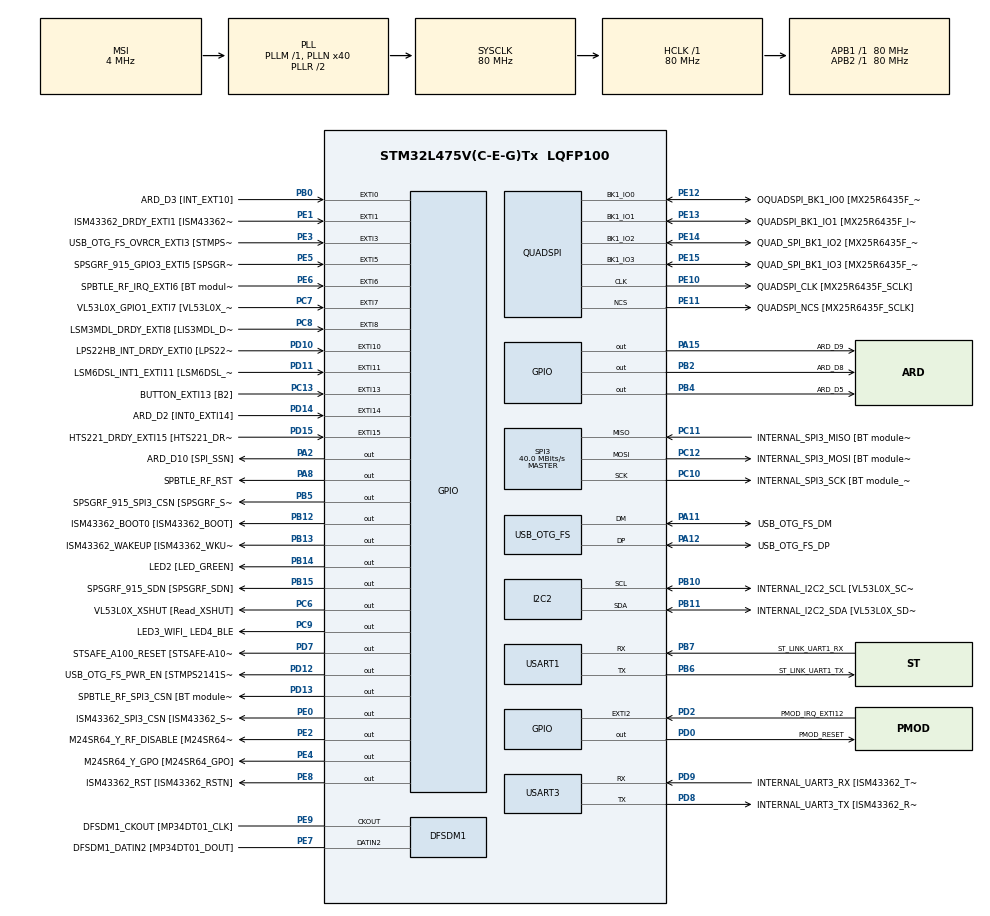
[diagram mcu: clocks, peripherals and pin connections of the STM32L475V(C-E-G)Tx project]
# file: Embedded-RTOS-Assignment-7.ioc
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FREERTOS.Mutexes01=myMutex01,Dynamic,NULL
FREERTOS.Tasks01=defaultTask,0,128,StartDefaultTask,Default,NULL,Dynamic,NULL,NULL;myTask02,-3,128,StartTask02,Default,NULL,Dynamic,NULL,NULL
FREERTOS.configUSE_NEWLIB_REENTRANT=1
Mcu.Family=STM32L4
Mcu.Name=STM32L475V(C-E-G)Tx
Mcu.Package=LQFP100
NVIC.EXTI15_10_IRQn=true\:5\:0\:false\:false\:true\:true\:true\:true\:true
NVIC.EXTI9_5_IRQn=true\:5\:0\:false\:false\:true\:true\:true\:true\:true
NVIC.PriorityGroup=NVIC_PRIORITYGROUP_4
NVIC.TIM1_UP_TIM16_IRQn=true\:15\:0\:false\:false\:true\:false\:false\:true\:true
NVIC.TimeBase=TIM1_UP_TIM16_IRQn
NVIC.TimeBaseIP=TIM1
PA0.GPIO_Label=ARD_D1 [UART4_TX]
PA0.Signal=UART4_TX
PA1.GPIO_Label=ARD_D0 [UART4_RX]
PA1.Signal=UART4_RX
PA10.GPIO_Label=USB_OTG_FS_ID
PA10.Signal=USB_OTG_FS_ID
PA11.GPIO_Label=USB_OTG_FS_DM
PA11.Mode=Device_Only
PA11.Signal=USB_OTG_FS_DM
PA12.GPIO_Label=USB_OTG_FS_DP
PA12.Mode=Device_Only
PA12.Signal=USB_OTG_FS_DP
PA13\ (JTMS-SWDIO).GPIO_Label=SYS_JTMS_SWDIO
PA13\ (JTMS-SWDIO).Mode=Serial_Wire
PA13\ (JTMS-SWDIO).Signal=SYS_JTMS-SWDIO
PA14\ (JTCK-SWCLK).GPIO_Label=SYS_JTCK_SWCLK
PA14\ (JTCK-SWCLK).Mode=Serial_Wire
PA14\ (JTCK-SWCLK).Signal=SYS_JTCK-SWCLK
PA15\ (JTDI).GPIO_Label=ARD_D9
PA15\ (JTDI).Signal=GPIO_Output
PA2.GPIO_Label=ARD_D10 [SPI_SSN]
PA2.Signal=GPIO_Output
PA3.GPIO_Label=ARD_D4
PA3.Signal=S_TIM2_CH4
PA4.GPIO_Label=ARD_D7
PA4.Signal=ADCx_IN9
PA5.GPIO_Label=ARD_D13 [SPI1_SCK]
PA5.Signal=SPI1_SCK
PA6.GPIO_Label=ARD_D12 [SPI1_MISO]
PA6.Signal=SPI1_MISO
PA7.GPIO_Label=ARD_D11 [SPI1_MOSI]
PA7.Signal=SPI1_MOSI
PA8.GPIO_Label=SPBTLE_RF_RST
PA8.Signal=GPIO_Output
PA9.GPIO_Label=USB_OTG_FS_VBUS [STMPS2141STR_OUT]
PA9.Signal=USB_OTG_FS_VBUS
PB0.GPIO_Label=ARD_D3 [INT_EXT10]
PB0.Signal=GPXTI0
PB1.GPIO_Label=ARD_D6 [ADC1_IN6]
PB1.Signal=ADCx_IN16
PB10.GPIO_Label=INTERNAL_I2C2_SCL [VL53L0X_SCL]
PB10.GPIO_Pu=GPIO_PULLUP
PB10.Mode=I2C
PB10.Signal=I2C2_SCL
PB11.GPIO_Label=INTERNAL_I2C2_SDA [VL53L0X_SDA]
PB11.GPIO_Pu=GPIO_PULLUP
PB11.Mode=I2C
PB11.Signal=I2C2_SDA
PB12.GPIO_Label=ISM43362_BOOT0 [ISM43362_BOOT]
PB12.Signal=GPIO_Output
PB13.GPIO_Label=ISM43362_WAKEUP [ISM43362_WKUP]
PB13.Signal=GPIO_Output
PB14.GPIO_Label=LED2 [LED_GREEN]
PB14.Signal=GPIO_Output
PB15.GPIO_Label=SPSGRF_915_SDN [SPSGRF_SDN]
PB15.Signal=GPIO_Output
PB2.GPIO_Label=ARD_D8
PB2.Signal=GPIO_Output
PB3\ (JTDO-TRACESWO).GPIO_Label=SYS_JTD0_SWO
PB3\ (JTDO-TRACESWO).Signal=SYS_JTDO-SWO
PB4\ (NJTRST).GPIO_Label=ARD_D5
PB4\ (NJTRST).Signal=GPIO_Output
PB5.GPIO_Label=SPSGRF_915_SPI3_CSN [SPSGRF_SPI_CS]
PB5.PinState=GPIO_PIN_SET
PB5.Signal=GPIO_Output
PB6.GPIO_Label=ST_LINK_UART1_TX
PB6.Mode=Asynchronous
PB6.Signal=USART1_TX
PB7.GPIO_Label=ST_LINK_UART1_RX
PB7.Mode=Asynchronous
PB7.Signal=USART1_RX
PB8.GPIO_Label=ARD_D15 [I2C1_SCL]
PB8.Signal=I2C1_SCL
PB9.GPIO_Label=ARD_D14 [I2C1_SDA]
PB9.Signal=I2C1_SDA
PC0.GPIO_Label=ARD_A5 [ADC]
PC0.Signal=ADCx_IN1
PC1.GPIO_Label=ARD_A4 [ADC]
PC1.Signal=ADCx_IN2
PC10.GPIO_Label=INTERNAL_SPI3_SCK [BT module_SPI_SCLK] [ISM43362_SCK]
PC10.Mode=Full_Duplex_Master
PC10.Signal=SPI3_SCK
PC11.GPIO_Label=INTERNAL_SPI3_MISO [BT module_SPI_MISO] [ISM43362_MISO]
PC11.Mode=Full_Duplex_Master
PC11.Signal=SPI3_MISO
PC12.GPIO_Label=INTERNAL_SPI3_MOSI [BT module_SPI_MOSI] [ISM43362_MOSI]
PC12.Mode=Full_Duplex_Master
PC12.Signal=SPI3_MOSI
PC13.GPIO_Label=BUTTON_EXTI13 [B2]
PC13.GPIO_ModeDefaultEXTI=GPIO_MODE_IT_FALLING
PC13.Signal=GPXTI13
PC14-OSC32_IN\ (PC14).Mode=LSE-External-Oscillator
PC14-OSC32_IN\ (PC14).Signal=RCC_OSC32_IN
PC15-OSC32_OUT\ (PC15).Mode=LSE-External-Oscillator
PC15-OSC32_OUT\ (PC15).Signal=RCC_OSC32_OUT
PC2.GPIO_Label=ARD_A3 [ADC]
PC2.Signal=ADCx_IN3
PC3.GPIO_Label=ARD_A2 [ADC]
PC3.Signal=ADCx_IN4
PC4.GPIO_Label=ARD_A1 [ADC]
PC4.Signal=ADCx_IN13
PC5.GPIO_Label=ARD_A0 [ADC]
PC5.Signal=ADCx_IN14
PC6.GPIO_Label=VL53L0X_XSHUT [Read_XSHUT]
PC6.Signal=GPIO_Output
PC7.GPIO_Label=VL53L0X_GPIO1_EXTI7 [VL53L0X_GPIO1]
PC7.Signal=GPXTI7
PC8.GPIO_Label=LSM3MDL_DRDY_EXTI8 [LIS3MDL_DRDY]
PC8.Signal=GPXTI8
PC9.GPIO_Label=LED3_WIFI_ LED4_BLE
PC9.Signal=GPIO_Output
PD0.GPIO_Label=PMOD_RESET
PD0.Signal=GPIO_Output
PD1.GPIO_Label=PMOD_SPI2_SCK
PD1.Signal=SPI2_SCK
PD10.GPIO_Label=LPS22HB_INT_DRDY_EXTI0 [LPS22HB_INT_DRDY] 
PD10.Signal=GPXTI10
PD11.GPIO_Label=LSM6DSL_INT1_EXTI11 [LSM6DSL_INT1]
PD11.Signal=GPXTI11
PD12.GPIO_Label=USB_OTG_FS_PWR_EN [STMPS2141STR_EN]
PD12.Signal=GPIO_Output
PD13.GPIO_Label=SPBTLE_RF_SPI3_CSN [BT module_SPI_CS]
PD13.PinState=GPIO_PIN_SET
PD13.Signal=GPIO_Output
PD14.GPIO_Label=ARD_D2 [INT0_EXTI14]
PD14.Signal=GPXTI14
PD15.GPIO_Label=HTS221_DRDY_EXTI15 [HTS221_DRDY]
PD15.Signal=GPXTI15
PD2.GPIO_Label=PMOD_IRQ_EXTI12
PD2.Signal=GPXTI2
PD3.GPIO_Label=PMOD_UART2_CTS
PD3.Signal=USART2_CTS
PD4.GPIO_Label=PMOD_UART2_RTS
PD4.Signal=USART2_RTS
PD5.GPIO_Label=PMOD_UART2_TX
PD5.Signal=USART2_TX
PD6.GPIO_Label=PMOD_UART2_RX
PD6.Signal=USART2_RX
PD7.GPIO_Label=STSAFE_A100_RESET [STSAFE-A100_RESET]
PD7.Signal=GPIO_Output
PD8.GPIO_Label=INTERNAL_UART3_TX [ISM43362_RX]
PD8.Mode=Asynchronous
PD8.Signal=USART3_TX
PD9.GPIO_Label=INTERNAL_UART3_RX [ISM43362_TX]
PD9.Mode=Asynchronous
PD9.Signal=USART3_RX
PE0.GPIO_Label=ISM43362_SPI3_CSN [ISM43362_SSN]
PE0.PinState=GPIO_PIN_SET
PE0.Signal=GPIO_Output
PE1.GPIO_Label=ISM43362_DRDY_EXTI1 [ISM43362_DATARDY]
PE1.Signal=GPXTI1
PE10.GPIO_Label=QUADSPI_CLK [MX25R6435F_SCLK]
PE10.Mode=Single Bank
PE10.Signal=QUADSPI_CLK
PE11.GPIO_Label=QUADSPI_NCS [MX25R6435F_SCLK]
PE11.Mode=Single Bank
PE11.Signal=QUADSPI_NCS
PE12.GPIO_Label=OQUADSPI_BK1_IO0 [MX25R6435F_IO0]
PE12.Mode=Single Bank
PE12.Signal=QUADSPI_BK1_IO0
PE13.GPIO_Label=QUADSPI_BK1_IO1 [MX25R6435F_IO1]
PE13.Mode=Single Bank
PE13.Signal=QUADSPI_BK1_IO1
PE14.GPIO_Label=QUAD_SPI_BK1_IO2 [MX25R6435F_IO2]
PE14.Mode=Single Bank
PE14.Signal=QUADSPI_BK1_IO2
PE15.GPIO_Label=QUAD_SPI_BK1_IO3 [MX25R6435F_IO3]
PE15.Mode=Single Bank
PE15.Signal=QUADSPI_BK1_IO3
PE2.GPIO_Label=M24SR64_Y_RF_DISABLE [M24SR64_RFDIS]
PE2.Signal=GPIO_Output
PE3.GPIO_Label=USB_OTG_FS_OVRCR_EXTI3 [STMPS2141STR_FAULT]
PE3.Signal=GPXTI3
PE4.GPIO_Label=M24SR64_Y_GPO [M24SR64_GPO]
PE4.Signal=GPIO_Output
PE5.GPIO_Label=SPSGRF_915_GPIO3_EXTI5 [SPSGRF_GPIO_3]
PE5.Signal=GPXTI5
PE6.GPIO_Label=SPBTLE_RF_IRQ_EXTI6 [BT module_SPI_IRQ]
PE6.Signal=GPXTI6
PE7.GPIO_Label=DFSDM1_DATIN2 [MP34DT01_DOUT]
PE7.Signal=S_DATAIN2DFSDM1
PE8.GPIO_Label=ISM43362_RST [ISM43362_RSTN]
PE8.Signal=GPIO_Output
PE9.GPIO_Label=DFSDM1_CKOUT [MP34DT01_CLK]
PE9.Signal=S_CKOUTDFSDM1
ProjectManager.HeapSize=0x200
ProjectManager.StackSize=0x400
ProjectManager.TargetToolchain=STM32CubeIDE
QUADSPI.ClockPrescaler=2
QUADSPI.FifoThreshold=4
QUADSPI.FlashSize=23
QUADSPI.SampleShifting=QSPI_SAMPLE_SHIFTING_HALFCYCLE
RCC.ADCFreq_Value=48000000
RCC.AHBFreq_Value=80000000
RCC.APB1Freq_Value=80000000
RCC.APB1TimFreq_Value=80000000
RCC.APB2Freq_Value=80000000
RCC.APB2TimFreq_Value=80000000
RCC.CortexFreq_Value=80000000
RCC.HCLKFreq_Value=80000000
RCC.HSE_VALUE=8000000
RCC.HSI_VALUE=16000000
RCC.MSI_VALUE=4000000
RCC.PLLN=40
RCC.PLLSAI1N=24
RCC.SYSCLKFreq_VALUE=80000000
RCC.SYSCLKSource=RCC_SYSCLKSOURCE_PLLCLK
RCC.USBFreq_Value=48000000
RCC.VCOOutputFreq_Value=160000000
SH.ADCx_IN1.0=ADC1_IN1
SH.ADCx_IN13.0=ADC1_IN13
SH.ADCx_IN14.0=ADC1_IN14
SH.ADCx_IN16.0=ADC1_IN16
SH.ADCx_IN2.0=ADC1_IN2
SH.ADCx_IN3.0=ADC1_IN3
SH.ADCx_IN4.0=ADC1_IN4
SH.ADCx_IN9.0=ADC1_IN9
SH.S_CKOUTDFSDM1.0=DFSDM1_CKOUT,CKOUT
SH.S_CKOUTDFSDM1.1=DFSDM1_CKOUT,PDM_SPI_Input_from_ch12_and_Internal_Clock
SH.S_DATAIN2DFSDM1.0=DFSDM1_DATIN2,PDM_SPI_Input_from_ch12_and_Internal_Clock
SH.S_TIM2_CH4.0=TIM2_CH4
SPI3.CalculateBaudRate=40.0 MBits/s
SPI3.Direction=SPI_DIRECTION_2LINES
SPI3.Mode=SPI_MODE_MASTER
SPI3.VirtualType=VM_MASTER
USART1.VirtualMode-Asynchronous=VM_ASYNC
USART3.VirtualMode-Asynchronous=VM_ASYNC
USB_OTG_FS.VirtualMode=Device_Only
VP_FREERTOS_VS_CMSIS_V1.Mode=CMSIS_V1
VP_SYS_VS_tim1.Mode=TIM1
board=B-L475E-IOT01A2

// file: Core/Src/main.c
/* USER CODE BEGIN Header */
/**
  ******************************************************************************
  * @file           : main.c
  * @brief          : Main program body
  ******************************************************************************
  * @attention
  *
  * Copyright (c) 2023 STMicroelectronics.
  * All rights reserved.
  *
  * This software is licensed under terms that can be found in the LICENSE file
  * in the root directory of this software component.
  * If no LICENSE file comes with this software, it is provided AS-IS.
  *
  ******************************************************************************
  */
/* USER CODE END Header */
#include "main.h"
#include "cmsis_os.h"

DFSDM_Channel_HandleTypeDef hdfsdm1_channel1;

I2C_HandleTypeDef hi2c2;

QSPI_HandleTypeDef hqspi;

SPI_HandleTypeDef hspi3;

UART_HandleTypeDef huart1;
UART_HandleTypeDef huart3;

PCD_HandleTypeDef hpcd_USB_OTG_FS;

osThreadId defaultTaskHandle;
osThreadId myTask02Handle;
osMutexId myMutex01Handle;
/* USER CODE BEGIN PV */
int count = 0;
/* USER CODE END PV */

void SystemClock_Config(void);
static void MX_GPIO_Init(void);
static void MX_DFSDM1_Init(void);
static void MX_I2C2_Init(void);
static void MX_QUADSPI_Init(void);
static void MX_SPI3_Init(void);
static void MX_USART1_UART_Init(void);
static void MX_USART3_UART_Init(void);
static void MX_USB_OTG_FS_PCD_Init(void);
void StartDefaultTask(void const * argument);
void StartTask02(void const * argument);

int main(void)
{

  /* MCU Configuration--------------------------------------------------------*/

  /* Reset of all peripherals, Initializes the Flash interface and the Systick. */
  HAL_Init();

  /* Configure the system clock */
  SystemClock_Config();

  /* Initialize all configured peripherals */
  MX_GPIO_Init();
  MX_DFSDM1_Init();
  MX_I2C2_Init();
  MX_QUADSPI_Init();
  MX_SPI3_Init();
  MX_USART1_UART_Init();
  MX_USART3_UART_Init();
  MX_USB_OTG_FS_PCD_Init();

  /* Create the mutex(es) */
  /* definition and creation of myMutex01 */
  osMutexDef(myMutex01);
  myMutex01Handle = osMutexCreate(osMutex(myMutex01));

  /* Create the thread(s) */
  /* definition and creation of defaultTask */
  osThreadDef(defaultTask, StartDefaultTask, osPriorityNormal, 0, 128);
  defaultTaskHandle = osThreadCreate(osThread(defaultTask), NULL);

  /* definition and creation of myTask02 */
  osThreadDef(myTask02, StartTask02, osPriorityIdle, 0, 128);
  myTask02Handle = osThreadCreate(osThread(myTask02), NULL);

  /* Start scheduler */
  osKernelStart();
  /* We should never get here as control is now taken by the scheduler */
  /* Infinite loop */
  while (1)
  {

  }
}

void SystemClock_Config(void)
{
  RCC_OscInitTypeDef RCC_OscInitStruct = {0};
  RCC_ClkInitTypeDef RCC_ClkInitStruct = {0};

  /** Configure the main internal regulator output voltage
  */
  if (HAL_PWREx_ControlVoltageScaling(PWR_REGULATOR_VOLTAGE_SCALE1) != HAL_OK)
  {
    Error_Handler();
  }

  /** Configure LSE Drive Capability
  */
  HAL_PWR_EnableBkUpAccess();
  __HAL_RCC_LSEDRIVE_CONFIG(RCC_LSEDRIVE_LOW);

  /** Initializes the RCC Oscillators according to the specified parameters
  * in the RCC_OscInitTypeDef structure.
  */
  RCC_OscInitStruct.OscillatorType = RCC_OSCILLATORTYPE_LSE|RCC_OSCILLATORTYPE_MSI;
  RCC_OscInitStruct.LSEState = RCC_LSE_ON;
  RCC_OscInitStruct.MSIState = RCC_MSI_ON;
  RCC_OscInitStruct.MSICalibrationValue = 0;
  RCC_OscInitStruct.MSIClockRange = RCC_MSIRANGE_6;
  RCC_OscInitStruct.PLL.PLLState = RCC_PLL_ON;
  RCC_OscInitStruct.PLL.PLLSource = RCC_PLLSOURCE_MSI;
  RCC_OscInitStruct.PLL.PLLM = 1;
  RCC_OscInitStruct.PLL.PLLN = 40;
  RCC_OscInitStruct.PLL.PLLP = RCC_PLLP_DIV7;
  RCC_OscInitStruct.PLL.PLLQ = RCC_PLLQ_DIV2;
  RCC_OscInitStruct.PLL.PLLR = RCC_PLLR_DIV2;
  if (HAL_RCC_OscConfig(&RCC_OscInitStruct) != HAL_OK)
  {
    Error_Handler();
  }

  /** Initializes the CPU, AHB and APB buses clocks
  */
  RCC_ClkInitStruct.ClockType = RCC_CLOCKTYPE_HCLK|RCC_CLOCKTYPE_SYSCLK
                              |RCC_CLOCKTYPE_PCLK1|RCC_CLOCKTYPE_PCLK2;
  RCC_ClkInitStruct.SYSCLKSource = RCC_SYSCLKSOURCE_PLLCLK;
  RCC_ClkInitStruct.AHBCLKDivider = RCC_SYSCLK_DIV1;
  RCC_ClkInitStruct.APB1CLKDivider = RCC_HCLK_DIV1;
  RCC_ClkInitStruct.APB2CLKDivider = RCC_HCLK_DIV1;

  if (HAL_RCC_ClockConfig(&RCC_ClkInitStruct, FLASH_LATENCY_4) != HAL_OK)
  {
    Error_Handler();
  }

  /** Enable MSI Auto calibration
  */
  HAL_RCCEx_EnableMSIPLLMode();
}

static void MX_DFSDM1_Init(void)
{

  hdfsdm1_channel1.Instance = DFSDM1_Channel1;
  hdfsdm1_channel1.Init.OutputClock.Activation = ENABLE;
  hdfsdm1_channel1.Init.OutputClock.Selection = DFSDM_CHANNEL_OUTPUT_CLOCK_SYSTEM;
  hdfsdm1_channel1.Init.OutputClock.Divider = 2;
  hdfsdm1_channel1.Init.Input.Multiplexer = DFSDM_CHANNEL_EXTERNAL_INPUTS;
  hdfsdm1_channel1.Init.Input.DataPacking = DFSDM_CHANNEL_STANDARD_MODE;
  hdfsdm1_channel1.Init.Input.Pins = DFSDM_CHANNEL_FOLLOWING_CHANNEL_PINS;
  hdfsdm1_channel1.Init.SerialInterface.Type = DFSDM_CHANNEL_SPI_RISING;
  hdfsdm1_channel1.Init.SerialInterface.SpiClock = DFSDM_CHANNEL_SPI_CLOCK_INTERNAL;
  hdfsdm1_channel1.Init.Awd.FilterOrder = DFSDM_CHANNEL_FASTSINC_ORDER;
  hdfsdm1_channel1.Init.Awd.Oversampling = 1;
  hdfsdm1_channel1.Init.Offset = 0;
  hdfsdm1_channel1.Init.RightBitShift = 0x00;
  if (HAL_DFSDM_ChannelInit(&hdfsdm1_channel1) != HAL_OK)
  {
    Error_Handler();
  }

}

static void MX_I2C2_Init(void)
{

  hi2c2.Instance = I2C2;
  hi2c2.Init.Timing = 0x00000E14;
  hi2c2.Init.OwnAddress1 = 0;
  hi2c2.Init.AddressingMode = I2C_ADDRESSINGMODE_7BIT;
  hi2c2.Init.DualAddressMode = I2C_DUALADDRESS_DISABLE;
  hi2c2.Init.OwnAddress2 = 0;
  hi2c2.Init.OwnAddress2Masks = I2C_OA2_NOMASK;
  hi2c2.Init.GeneralCallMode = I2C_GENERALCALL_DISABLE;
  hi2c2.Init.NoStretchMode = I2C_NOSTRETCH_DISABLE;
  if (HAL_I2C_Init(&hi2c2) != HAL_OK)
  {
    Error_Handler();
  }

  /** Configure Analogue filter
  */
  if (HAL_I2CEx_ConfigAnalogFilter(&hi2c2, I2C_ANALOGFILTER_ENABLE) != HAL_OK)
  {
    Error_Handler();
  }

  /** Configure Digital filter
  */
  if (HAL_I2CEx_ConfigDigitalFilter(&hi2c2, 0) != HAL_OK)
  {
    Error_Handler();
  }

}

static void MX_QUADSPI_Init(void)
{

  /* QUADSPI parameter configuration*/
  hqspi.Instance = QUADSPI;
  hqspi.Init.ClockPrescaler = 2;
  hqspi.Init.FifoThreshold = 4;
  hqspi.Init.SampleShifting = QSPI_SAMPLE_SHIFTING_HALFCYCLE;
  hqspi.Init.FlashSize = 23;
  hqspi.Init.ChipSelectHighTime = QSPI_CS_HIGH_TIME_1_CYCLE;
  hqspi.Init.ClockMode = QSPI_CLOCK_MODE_0;
  if (HAL_QSPI_Init(&hqspi) != HAL_OK)
  {
    Error_Handler();
  }

}

static void MX_SPI3_Init(void)
{

  /* SPI3 parameter configuration*/
  hspi3.Instance = SPI3;
  hspi3.Init.Mode = SPI_MODE_MASTER;
  hspi3.Init.Direction = SPI_DIRECTION_2LINES;
  hspi3.Init.DataSize = SPI_DATASIZE_4BIT;
  hspi3.Init.CLKPolarity = SPI_POLARITY_LOW;
  hspi3.Init.CLKPhase = SPI_PHASE_1EDGE;
  hspi3.Init.NSS = SPI_NSS_SOFT;
  hspi3.Init.BaudRatePrescaler = SPI_BAUDRATEPRESCALER_2;
  hspi3.Init.FirstBit = SPI_FIRSTBIT_MSB;
  hspi3.Init.TIMode = SPI_TIMODE_DISABLE;
  hspi3.Init.CRCCalculation = SPI_CRCCALCULATION_DISABLE;
  hspi3.Init.CRCPolynomial = 7;
  hspi3.Init.CRCLength = SPI_CRC_LENGTH_DATASIZE;
  hspi3.Init.NSSPMode = SPI_NSS_PULSE_ENABLE;
  if (HAL_SPI_Init(&hspi3) != HAL_OK)
  {
    Error_Handler();
  }

}

static void MX_USART1_UART_Init(void)
{

  huart1.Instance = USART1;
  huart1.Init.BaudRate = 115200;
  huart1.Init.WordLength = UART_WORDLENGTH_8B;
  huart1.Init.StopBits = UART_STOPBITS_1;
  huart1.Init.Parity = UART_PARITY_NONE;
  huart1.Init.Mode = UART_MODE_TX_RX;
  huart1.Init.HwFlowCtl = UART_HWCONTROL_NONE;
  huart1.Init.OverSampling = UART_OVERSAMPLING_16;
  huart1.Init.OneBitSampling = UART_ONE_BIT_SAMPLE_DISABLE;
  huart1.AdvancedInit.AdvFeatureInit = UART_ADVFEATURE_NO_INIT;
  if (HAL_UART_Init(&huart1) != HAL_OK)
  {
    Error_Handler();
  }

}

static void MX_USART3_UART_Init(void)
{

  huart3.Instance = USART3;
  huart3.Init.BaudRate = 115200;
  huart3.Init.WordLength = UART_WORDLENGTH_8B;
  huart3.Init.StopBits = UART_STOPBITS_1;
  huart3.Init.Parity = UART_PARITY_NONE;
  huart3.Init.Mode = UART_MODE_TX_RX;
  huart3.Init.HwFlowCtl = UART_HWCONTROL_NONE;
  huart3.Init.OverSampling = UART_OVERSAMPLING_16;
  huart3.Init.OneBitSampling = UART_ONE_BIT_SAMPLE_DISABLE;
  huart3.AdvancedInit.AdvFeatureInit = UART_ADVFEATURE_NO_INIT;
  if (HAL_UART_Init(&huart3) != HAL_OK)
  {
    Error_Handler();
  }

}

static void MX_USB_OTG_FS_PCD_Init(void)
{

  hpcd_USB_OTG_FS.Instance = USB_OTG_FS;
  hpcd_USB_OTG_FS.Init.dev_endpoints = 6;
  hpcd_USB_OTG_FS.Init.speed = PCD_SPEED_FULL;
  hpcd_USB_OTG_FS.Init.phy_itface = PCD_PHY_EMBEDDED;
  hpcd_USB_OTG_FS.Init.Sof_enable = DISABLE;
  hpcd_USB_OTG_FS.Init.low_power_enable = DISABLE;
  hpcd_USB_OTG_FS.Init.lpm_enable = DISABLE;
  hpcd_USB_OTG_FS.Init.battery_charging_enable = DISABLE;
  hpcd_USB_OTG_FS.Init.use_dedicated_ep1 = DISABLE;
  hpcd_USB_OTG_FS.Init.vbus_sensing_enable = DISABLE;
  if (HAL_PCD_Init(&hpcd_USB_OTG_FS) != HAL_OK)
  {
    Error_Handler();
  }

}

static void MX_GPIO_Init(void)
{
  GPIO_InitTypeDef GPIO_InitStruct = {0};

  /* GPIO Ports Clock Enable */
  __HAL_RCC_GPIOE_CLK_ENABLE();
  __HAL_RCC_GPIOC_CLK_ENABLE();
  __HAL_RCC_GPIOA_CLK_ENABLE();
  __HAL_RCC_GPIOB_CLK_ENABLE();
  __HAL_RCC_GPIOD_CLK_ENABLE();

  /*Configure GPIO pin Output Level */
  HAL_GPIO_WritePin(GPIOE, M24SR64_Y_RF_DISABLE_Pin|M24SR64_Y_GPO_Pin|ISM43362_RST_Pin, GPIO_PIN_RESET);

  /*Configure GPIO pin Output Level */
  HAL_GPIO_WritePin(GPIOA, ARD_D10_Pin|SPBTLE_RF_RST_Pin|ARD_D9_Pin, GPIO_PIN_RESET);

  /*Configure GPIO pin Output Level */
  HAL_GPIO_WritePin(GPIOB, ARD_D8_Pin|ISM43362_BOOT0_Pin|ISM43362_WAKEUP_Pin|LED2_Pin
                          |SPSGRF_915_SDN_Pin|ARD_D5_Pin, GPIO_PIN_RESET);

  /*Configure GPIO pin Output Level */
  HAL_GPIO_WritePin(GPIOD, USB_OTG_FS_PWR_EN_Pin|PMOD_RESET_Pin|STSAFE_A100_RESET_Pin, GPIO_PIN_RESET);

  /*Configure GPIO pin Output Level */
  HAL_GPIO_WritePin(SPBTLE_RF_SPI3_CSN_GPIO_Port, SPBTLE_RF_SPI3_CSN_Pin, GPIO_PIN_SET);

  /*Configure GPIO pin Output Level */
  HAL_GPIO_WritePin(GPIOC, VL53L0X_XSHUT_Pin|LED3_WIFI__LED4_BLE_Pin, GPIO_PIN_RESET);

  /*Configure GPIO pin Output Level */
  HAL_GPIO_WritePin(SPSGRF_915_SPI3_CSN_GPIO_Port, SPSGRF_915_SPI3_CSN_Pin, GPIO_PIN_SET);

  /*Configure GPIO pin Output Level */
  HAL_GPIO_WritePin(ISM43362_SPI3_CSN_GPIO_Port, ISM43362_SPI3_CSN_Pin, GPIO_PIN_SET);

  /*Configure GPIO pins : M24SR64_Y_RF_DISABLE_Pin M24SR64_Y_GPO_Pin ISM43362_RST_Pin ISM43362_SPI3_CSN_Pin */
  GPIO_InitStruct.Pin = M24SR64_Y_RF_DISABLE_Pin|M24SR64_Y_GPO_Pin|ISM43362_RST_Pin|ISM43362_SPI3_CSN_Pin;
  GPIO_InitStruct.Mode = GPIO_MODE_OUTPUT_PP;
  GPIO_InitStruct.Pull = GPIO_NOPULL;
  GPIO_InitStruct.Speed = GPIO_SPEED_FREQ_LOW;
  HAL_GPIO_Init(GPIOE, &GPIO_InitStruct);

  /*Configure GPIO pins : USB_OTG_FS_OVRCR_EXTI3_Pin SPSGRF_915_GPIO3_EXTI5_Pin SPBTLE_RF_IRQ_EXTI6_Pin ISM43362_DRDY_EXTI1_Pin */
  GPIO_InitStruct.Pin = USB_OTG_FS_OVRCR_EXTI3_Pin|SPSGRF_915_GPIO3_EXTI5_Pin|SPBTLE_RF_IRQ_EXTI6_Pin|ISM43362_DRDY_EXTI1_Pin;
  GPIO_InitStruct.Mode = GPIO_MODE_IT_RISING;
  GPIO_InitStruct.Pull = GPIO_NOPULL;
  HAL_GPIO_Init(GPIOE, &GPIO_InitStruct);

  /*Configure GPIO pin : BUTTON_EXTI13_Pin */
  GPIO_InitStruct.Pin = BUTTON_EXTI13_Pin;
  GPIO_InitStruct.Mode = GPIO_MODE_IT_FALLING;
  GPIO_InitStruct.Pull = GPIO_NOPULL;
  HAL_GPIO_Init(BUTTON_EXTI13_GPIO_Port, &GPIO_InitStruct);

  /*Configure GPIO pins : ARD_A5_Pin ARD_A4_Pin ARD_A3_Pin ARD_A2_Pin
                           ARD_A1_Pin ARD_A0_Pin */
  GPIO_InitStruct.Pin = ARD_A5_Pin|ARD_A4_Pin|ARD_A3_Pin|ARD_A2_Pin
                          |ARD_A1_Pin|ARD_A0_Pin;
  GPIO_InitStruct.Mode = GPIO_MODE_ANALOG_ADC_CONTROL;
  GPIO_InitStruct.Pull = GPIO_NOPULL;
  HAL_GPIO_Init(GPIOC, &GPIO_InitStruct);

  /*Configure GPIO pins : ARD_D1_Pin ARD_D0_Pin */
  GPIO_InitStruct.Pin = ARD_D1_Pin|ARD_D0_Pin;
  GPIO_InitStruct.Mode = GPIO_MODE_AF_PP;
  GPIO_InitStruct.Pull = GPIO_NOPULL;
  GPIO_InitStruct.Speed = GPIO_SPEED_FREQ_VERY_HIGH;
  GPIO_InitStruct.Alternate = GPIO_AF8_UART4;
  HAL_GPIO_Init(GPIOA, &GPIO_InitStruct);

  /*Configure GPIO pins : ARD_D10_Pin SPBTLE_RF_RST_Pin ARD_D9_Pin */
  GPIO_InitStruct.Pin = ARD_D10_Pin|SPBTLE_RF_RST_Pin|ARD_D9_Pin;
  GPIO_InitStruct.Mode = GPIO_MODE_OUTPUT_PP;
  GPIO_InitStruct.Pull = GPIO_NOPULL;
  GPIO_InitStruct.Speed = GPIO_SPEED_FREQ_LOW;
  HAL_GPIO_Init(GPIOA, &GPIO_InitStruct);

  /*Configure GPIO pin : ARD_D4_Pin */
  GPIO_InitStruct.Pin = ARD_D4_Pin;
  GPIO_InitStruct.Mode = GPIO_MODE_AF_PP;
  GPIO_InitStruct.Pull = GPIO_NOPULL;
  GPIO_InitStruct.Speed = GPIO_SPEED_FREQ_LOW;
  GPIO_InitStruct.Alternate = GPIO_AF1_TIM2;
  HAL_GPIO_Init(ARD_D4_GPIO_Port, &GPIO_InitStruct);

  /*Configure GPIO pin : ARD_D7_Pin */
  GPIO_InitStruct.Pin = ARD_D7_Pin;
  GPIO_InitStruct.Mode = GPIO_MODE_ANALOG_ADC_CONTROL;
  GPIO_InitStruct.Pull = GPIO_NOPULL;
  HAL_GPIO_Init(ARD_D7_GPIO_Port, &GPIO_InitStruct);

  /*Configure GPIO pins : ARD_D13_Pin ARD_D12_Pin ARD_D11_Pin */
  GPIO_InitStruct.Pin = ARD_D13_Pin|ARD_D12_Pin|ARD_D11_Pin;
  GPIO_InitStruct.Mode = GPIO_MODE_AF_PP;
  GPIO_InitStruct.Pull = GPIO_NOPULL;
  GPIO_InitStruct.Speed = GPIO_SPEED_FREQ_VERY_HIGH;
  GPIO_InitStruct.Alternate = GPIO_AF5_SPI1;
  HAL_GPIO_Init(GPIOA, &GPIO_InitStruct);

  /*Configure GPIO pin : ARD_D3_Pin */
  GPIO_InitStruct.Pin = ARD_D3_Pin;
  GPIO_InitStruct.Mode = GPIO_MODE_IT_RISING;
  GPIO_InitStruct.Pull = GPIO_NOPULL;
  HAL_GPIO_Init(ARD_D3_GPIO_Port, &GPIO_InitStruct);

  /*Configure GPIO pin : ARD_D6_Pin */
  GPIO_InitStruct.Pin = ARD_D6_Pin;
  GPIO_InitStruct.Mode = GPIO_MODE_ANALOG_ADC_CONTROL;
  GPIO_InitStruct.Pull = GPIO_NOPULL;
  HAL_GPIO_Init(ARD_D6_GPIO_Port, &GPIO_InitStruct);

  /*Configure GPIO pins : ARD_D8_Pin ISM43362_BOOT0_Pin ISM43362_WAKEUP_Pin LED2_Pin
                           SPSGRF_915_SDN_Pin ARD_D5_Pin SPSGRF_915_SPI3_CSN_Pin */
  GPIO_InitStruct.Pin = ARD_D8_Pin|ISM43362_BOOT0_Pin|ISM43362_WAKEUP_Pin|LED2_Pin
                          |SPSGRF_915_SDN_Pin|ARD_D5_Pin|SPSGRF_915_SPI3_CSN_Pin;
  GPIO_InitStruct.Mode = GPIO_MODE_OUTPUT_PP;
  GPIO_InitStruct.Pull = GPIO_NOPULL;
  GPIO_InitStruct.Speed = GPIO_SPEED_FREQ_LOW;
  HAL_GPIO_Init(GPIOB, &GPIO_InitStruct);

  /*Configure GPIO pins : LPS22HB_INT_DRDY_EXTI0_Pin LSM6DSL_INT1_EXTI11_Pin ARD_D2_Pin HTS221_DRDY_EXTI15_Pin
                           PMOD_IRQ_EXTI12_Pin */
  GPIO_InitStruct.Pin = LPS22HB_INT_DRDY_EXTI0_Pin|LSM6DSL_INT1_EXTI11_Pin|ARD_D2_Pin|HTS221_DRDY_EXTI15_Pin
                          |PMOD_IRQ_EXTI12_Pin;
  GPIO_InitStruct.Mode = GPIO_MODE_IT_RISING;
  GPIO_InitStruct.Pull = GPIO_NOPULL;
  HAL_GPIO_Init(GPIOD, &GPIO_InitStruct);

  /*Configure GPIO pins : USB_OTG_FS_PWR_EN_Pin SPBTLE_RF_SPI3_CSN_Pin PMOD_RESET_Pin STSAFE_A100_RESET_Pin */
  GPIO_InitStruct.Pin = USB_OTG_FS_PWR_EN_Pin|SPBTLE_RF_SPI3_CSN_Pin|PMOD_RESET_Pin|STSAFE_A100_RESET_Pin;
  GPIO_InitStruct.Mode = GPIO_MODE_OUTPUT_PP;
  GPIO_InitStruct.Pull = GPIO_NOPULL;
  GPIO_InitStruct.Speed = GPIO_SPEED_FREQ_LOW;
  HAL_GPIO_Init(GPIOD, &GPIO_InitStruct);

  /*Configure GPIO pins : VL53L0X_XSHUT_Pin LED3_WIFI__LED4_BLE_Pin */
  GPIO_InitStruct.Pin = VL53L0X_XSHUT_Pin|LED3_WIFI__LED4_BLE_Pin;
  GPIO_InitStruct.Mode = GPIO_MODE_OUTPUT_PP;
  GPIO_InitStruct.Pull = GPIO_NOPULL;
  GPIO_InitStruct.Speed = GPIO_SPEED_FREQ_LOW;
  HAL_GPIO_Init(GPIOC, &GPIO_InitStruct);

  /*Configure GPIO pins : VL53L0X_GPIO1_EXTI7_Pin LSM3MDL_DRDY_EXTI8_Pin */
  GPIO_InitStruct.Pin = VL53L0X_GPIO1_EXTI7_Pin|LSM3MDL_DRDY_EXTI8_Pin;
  GPIO_InitStruct.Mode = GPIO_MODE_IT_RISING;
  GPIO_InitStruct.Pull = GPIO_NOPULL;
  HAL_GPIO_Init(GPIOC, &GPIO_InitStruct);

  /*Configure GPIO pin : PMOD_SPI2_SCK_Pin */
  GPIO_InitStruct.Pin = PMOD_SPI2_SCK_Pin;
  GPIO_InitStruct.Mode = GPIO_MODE_AF_PP;
  GPIO_InitStruct.Pull = GPIO_NOPULL;
  GPIO_InitStruct.Speed = GPIO_SPEED_FREQ_VERY_HIGH;
  GPIO_InitStruct.Alternate = GPIO_AF5_SPI2;
  HAL_GPIO_Init(PMOD_SPI2_SCK_GPIO_Port, &GPIO_InitStruct);

  /*Configure GPIO pins : PMOD_UART2_CTS_Pin PMOD_UART2_RTS_Pin PMOD_UART2_TX_Pin PMOD_UART2_RX_Pin */
  GPIO_InitStruct.Pin = PMOD_UART2_CTS_Pin|PMOD_UART2_RTS_Pin|PMOD_UART2_TX_Pin|PMOD_UART2_RX_Pin;
  GPIO_InitStruct.Mode = GPIO_MODE_AF_PP;
  GPIO_InitStruct.Pull = GPIO_NOPULL;
  GPIO_InitStruct.Speed = GPIO_SPEED_FREQ_VERY_HIGH;
  GPIO_InitStruct.Alternate = GPIO_AF7_USART2;
  HAL_GPIO_Init(GPIOD, &GPIO_InitStruct);

  /*Configure GPIO pins : ARD_D15_Pin ARD_D14_Pin */
  GPIO_InitStruct.Pin = ARD_D15_Pin|ARD_D14_Pin;
  GPIO_InitStruct.Mode = GPIO_MODE_AF_OD;
  GPIO_InitStruct.Pull = GPIO_NOPULL;
  GPIO_InitStruct.Speed = GPIO_SPEED_FREQ_VERY_HIGH;
  GPIO_InitStruct.Alternate = GPIO_AF4_I2C1;
  HAL_GPIO_Init(GPIOB, &GPIO_InitStruct);

  /* EXTI interrupt init*/
  HAL_NVIC_SetPriority(EXTI9_5_IRQn, 5, 0);
  HAL_NVIC_EnableIRQ(EXTI9_5_IRQn);

  HAL_NVIC_SetPriority(EXTI15_10_IRQn, 5, 0);
  HAL_NVIC_EnableIRQ(EXTI15_10_IRQn);

}

void StartDefaultTask(void const * argument)
{
  /* USER CODE BEGIN 5 */
  /* Infinite loop */
  for(;;)
  {
    osDelay(5000); // Sleep 5 seconds
    // Read count value
    int flashCount = 0;
    taskENTER_CRITICAL();
    flashCount = count;
    if(count == 0){
    	taskEXIT_CRITICAL();
    	continue;
    }
    // Else clear the count
    count = 0;
    taskEXIT_CRITICAL();
    // Grab the mutex
    osMutexWait(myMutex01Handle, osWaitForever);
	// Always end with LED ON
	HAL_GPIO_WritePin(LED2_GPIO_Port, LED2_Pin, 1);
    while(flashCount != 0){
    	flashCount--;
    	osDelay(500);
    	HAL_GPIO_TogglePin(LED2_GPIO_Port, LED2_Pin);
    }
    // Always end with LED OFF
    HAL_GPIO_WritePin(LED2_GPIO_Port, LED2_Pin, 0);
    // Release the mutex
    osMutexRelease(myMutex01Handle);
  }
  /* USER CODE END 5 */
}

void StartTask02(void const * argument)
{
  /* USER CODE BEGIN StartTask02 */
  /* Infinite loop */
  for(;;)
  {
	osDelay(5000); // Sleep 5 seconds
	// Read count value
	int flashCount = 0;
	taskENTER_CRITICAL();
	flashCount = count;
	if(count == 0){
		taskEXIT_CRITICAL();
		continue;
	}
	// Else clear the count
	count = 0;
	taskEXIT_CRITICAL();

	// Grab the mutex
	osMutexWait(myMutex01Handle, osWaitForever);
	// Always end with LED ON
	HAL_GPIO_WritePin(LED2_GPIO_Port, LED2_Pin, 1);
	while(flashCount != 0){
		flashCount--;
		osDelay(1000);
		HAL_GPIO_TogglePin(LED2_GPIO_Port, LED2_Pin);
	}
	// Always end with LED OFF
	HAL_GPIO_WritePin(LED2_GPIO_Port, LED2_Pin, 0);
	// Release the mutex
	osMutexRelease(myMutex01Handle);
  }
  /* USER CODE END StartTask02 */
}

void HAL_TIM_PeriodElapsedCallback(TIM_HandleTypeDef *htim)
{
  if (htim->Instance == TIM1) {
    HAL_IncTick();
  }
}

void Error_Handler(void)
{
  __disable_irq();
  while (1)
  {
  }
}
